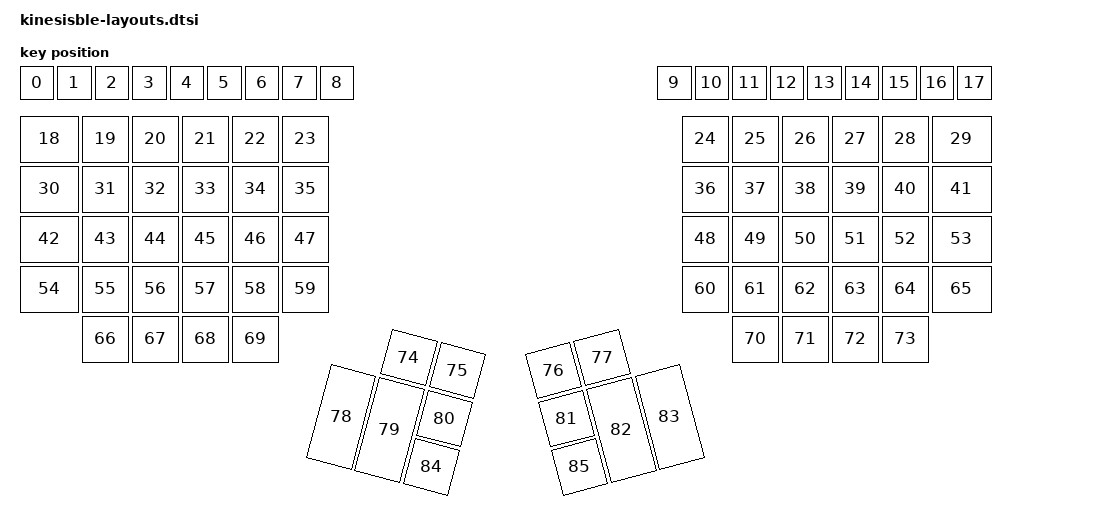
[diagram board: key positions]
/*
 * Copyright (c) 2026 The ZMK Contributors
 *
 * SPDX-License-Identifier: MIT
 */

/*
 * Approximate physical layout of the Kinesis Advantage 2, used by ZMK Studio
 * to draw the keyboard. Key order matches default_transform: function row,
 * the four main rows, the arrow/bracket row, then the thumb clusters.
 */

#include <physical_layouts.dtsi>

/ {
    physical_layout0: physical_layout_0 {
        compatible = "zmk,physical-layout";
        display-name = "Advantage 2";

        keys  //                     w   h    x    y     rot    rx    ry
            = <&key_physical_attrs  75  75    0    0       0     0     0>
            , <&key_physical_attrs  75  75   75    0       0     0     0>
            , <&key_physical_attrs  75  75  150    0       0     0     0>
            , <&key_physical_attrs  75  75  225    0       0     0     0>
            , <&key_physical_attrs  75  75  300    0       0     0     0>
            , <&key_physical_attrs  75  75  375    0       0     0     0>
            , <&key_physical_attrs  75  75  450    0       0     0     0>
            , <&key_physical_attrs  75  75  525    0       0     0     0>
            , <&key_physical_attrs  75  75  600    0       0     0     0>
            , <&key_physical_attrs  75  75 1275    0       0     0     0>
            , <&key_physical_attrs  75  75 1350    0       0     0     0>
            , <&key_physical_attrs  75  75 1425    0       0     0     0>
            , <&key_physical_attrs  75  75 1500    0       0     0     0>
            , <&key_physical_attrs  75  75 1575    0       0     0     0>
            , <&key_physical_attrs  75  75 1650    0       0     0     0>
            , <&key_physical_attrs  75  75 1725    0       0     0     0>
            , <&key_physical_attrs  75  75 1800    0       0     0     0>
            , <&key_physical_attrs  75  75 1875    0       0     0     0>
            , <&key_physical_attrs 125 100    0  100       0     0     0>
            , <&key_physical_attrs 100 100  125  100       0     0     0>
            , <&key_physical_attrs 100 100  225  100       0     0     0>
            , <&key_physical_attrs 100 100  325  100       0     0     0>
            , <&key_physical_attrs 100 100  425  100       0     0     0>
            , <&key_physical_attrs 100 100  525  100       0     0     0>
            , <&key_physical_attrs 100 100 1325  100       0     0     0>
            , <&key_physical_attrs 100 100 1425  100       0     0     0>
            , <&key_physical_attrs 100 100 1525  100       0     0     0>
            , <&key_physical_attrs 100 100 1625  100       0     0     0>
            , <&key_physical_attrs 100 100 1725  100       0     0     0>
            , <&key_physical_attrs 125 100 1825  100       0     0     0>
            , <&key_physical_attrs 125 100    0  200       0     0     0>
            , <&key_physical_attrs 100 100  125  200       0     0     0>
            , <&key_physical_attrs 100 100  225  200       0     0     0>
            , <&key_physical_attrs 100 100  325  200       0     0     0>
            , <&key_physical_attrs 100 100  425  200       0     0     0>
            , <&key_physical_attrs 100 100  525  200       0     0     0>
            , <&key_physical_attrs 100 100 1325  200       0     0     0>
            , <&key_physical_attrs 100 100 1425  200       0     0     0>
            , <&key_physical_attrs 100 100 1525  200       0     0     0>
            , <&key_physical_attrs 100 100 1625  200       0     0     0>
            , <&key_physical_attrs 100 100 1725  200       0     0     0>
            , <&key_physical_attrs 125 100 1825  200       0     0     0>
            , <&key_physical_attrs 125 100    0  300       0     0     0>
            , <&key_physical_attrs 100 100  125  300       0     0     0>
            , <&key_physical_attrs 100 100  225  300       0     0     0>
            , <&key_physical_attrs 100 100  325  300       0     0     0>
            , <&key_physical_attrs 100 100  425  300       0     0     0>
            , <&key_physical_attrs 100 100  525  300       0     0     0>
            , <&key_physical_attrs 100 100 1325  300       0     0     0>
            , <&key_physical_attrs 100 100 1425  300       0     0     0>
            , <&key_physical_attrs 100 100 1525  300       0     0     0>
            , <&key_physical_attrs 100 100 1625  300       0     0     0>
            , <&key_physical_attrs 100 100 1725  300       0     0     0>
            , <&key_physical_attrs 125 100 1825  300       0     0     0>
            , <&key_physical_attrs 125 100    0  400       0     0     0>
            , <&key_physical_attrs 100 100  125  400       0     0     0>
            , <&key_physical_attrs 100 100  225  400       0     0     0>
            , <&key_physical_attrs 100 100  325  400       0     0     0>
            , <&key_physical_attrs 100 100  425  400       0     0     0>
            , <&key_physical_attrs 100 100  525  400       0     0     0>
            , <&key_physical_attrs 100 100 1325  400       0     0     0>
            , <&key_physical_attrs 100 100 1425  400       0     0     0>
            , <&key_physical_attrs 100 100 1525  400       0     0     0>
            , <&key_physical_attrs 100 100 1625  400       0     0     0>
            , <&key_physical_attrs 100 100 1725  400       0     0     0>
            , <&key_physical_attrs 125 100 1825  400       0     0     0>
            , <&key_physical_attrs 100 100  125  500       0     0     0>
            , <&key_physical_attrs 100 100  225  500       0     0     0>
            , <&key_physical_attrs 100 100  325  500       0     0     0>
            , <&key_physical_attrs 100 100  425  500       0     0     0>
            , <&key_physical_attrs 100 100 1425  500       0     0     0>
            , <&key_physical_attrs 100 100 1525  500       0     0     0>
            , <&key_physical_attrs 100 100 1625  500       0     0     0>
            , <&key_physical_attrs 100 100 1725  500       0     0     0>
            , <&key_physical_attrs 100 100  750  500    1500   650   500>
            , <&key_physical_attrs 100 100  850  500    1500   650   500>
            , <&key_physical_attrs 100 100 1000  500 (-1500)  1300   500>
            , <&key_physical_attrs 100 100 1100  500 (-1500)  1300   500>
            , <&key_physical_attrs 100 200  650  600    1500   650   500>
            , <&key_physical_attrs 100 200  750  600    1500   650   500>
            , <&key_physical_attrs 100 100  850  600    1500   650   500>
            , <&key_physical_attrs 100 100 1000  600 (-1500)  1300   500>
            , <&key_physical_attrs 100 200 1100  600 (-1500)  1300   500>
            , <&key_physical_attrs 100 200 1200  600 (-1500)  1300   500>
            , <&key_physical_attrs 100 100  850  700    1500   650   500>
            , <&key_physical_attrs 100 100 1000  700 (-1500)  1300   500>
            ;
    };
};
